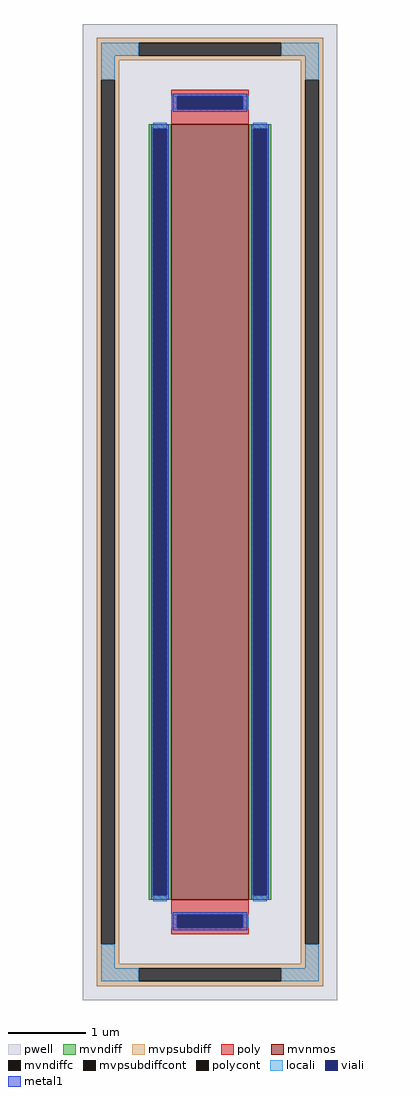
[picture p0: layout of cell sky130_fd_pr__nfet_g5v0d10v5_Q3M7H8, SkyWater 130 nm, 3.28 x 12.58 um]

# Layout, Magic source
magic
tech sky130A
<< pwell >>
rect -164 -629 164 629
<< mvnmos >>
rect -50 -500 50 500
<< mvndiff >>
rect -79 494 -50 500
rect -79 -494 -73 494
rect -56 -494 -50 494
rect -79 -500 -50 -494
rect 50 494 79 500
rect 50 -494 56 494
rect 73 -494 79 494
rect 50 -500 79 -494
<< mvndiffc >>
rect -73 -494 -56 494
rect 56 -494 73 494
<< mvpsubdiff >>
rect -146 605 146 611
rect -146 588 -92 605
rect 92 588 146 605
rect -146 582 146 588
rect -146 557 -117 582
rect -146 -557 -140 557
rect -123 -557 -117 557
rect 117 557 146 582
rect -146 -582 -117 -557
rect 117 -557 123 557
rect 140 -557 146 557
rect 117 -582 146 -557
rect -146 -588 146 -582
rect -146 -605 -92 -588
rect 92 -605 146 -588
rect -146 -611 146 -605
<< mvpsubdiffcont >>
rect -92 588 92 605
rect -140 -557 -123 557
rect 123 -557 140 557
rect -92 -605 92 -588
<< poly >>
rect -50 536 50 544
rect -50 519 -42 536
rect 42 519 50 536
rect -50 500 50 519
rect -50 -519 50 -500
rect -50 -536 -42 -519
rect 42 -536 50 -519
rect -50 -544 50 -536
<< polycont >>
rect -42 519 42 536
rect -42 -536 42 -519
<< locali >>
rect -140 588 -92 605
rect 92 588 140 605
rect -140 557 -123 588
rect 123 557 140 588
rect -50 519 -42 536
rect 42 519 50 536
rect -73 494 -56 502
rect -73 -502 -56 -494
rect 56 494 73 502
rect 56 -502 73 -494
rect -50 -536 -42 -519
rect 42 -536 50 -519
rect -140 -588 -123 -557
rect 123 -588 140 -557
rect -140 -605 -92 -588
rect 92 -605 140 -588
<< viali >>
rect -42 519 42 536
rect -73 -494 -56 494
rect 56 -494 73 494
rect -42 -536 42 -519
<< metal1 >>
rect -48 536 48 539
rect -48 519 -42 536
rect 42 519 48 536
rect -48 516 48 519
rect -76 494 -53 500
rect -76 -494 -73 494
rect -56 -494 -53 494
rect -76 -500 -53 -494
rect 53 494 76 500
rect 53 -494 56 494
rect 73 -494 76 494
rect 53 -500 76 -494
rect -48 -519 48 -516
rect -48 -536 -42 -519
rect 42 -536 48 -519
rect -48 -539 48 -536
<< properties >>
string FIXED_BBOX -131 -596 131 596
string gencell sky130_fd_pr__nfet_g5v0d10v5
string library sky130
string parameters w 10.0 l 1.0 m 1 nf 1 diffcov 100 polycov 100 guard 1 glc 1 grc 1 gtc 1 gbc 1 tbcov 100 rlcov 100 topc 1 botc 1 poverlap 0 doverlap 1 lmin 0.50 wmin 0.42 class mosfet compatible {sky130_fd_pr__nfet_01v8 sky130_fd_pr__nfet_01v8_lvt  sky130_fd_bs_flash__special_sonosfet_star  sky130_fd_pr__nfet_g5v0d10v5 sky130_fd_pr__nfet_05v0_nvt  sky130_fd_pr__nfet_03v3_nvt} full_metal 1 viasrc 100 viadrn 100 viagate 100 viagb 0 viagr 0 viagl 0 viagt 0
<< end >>
